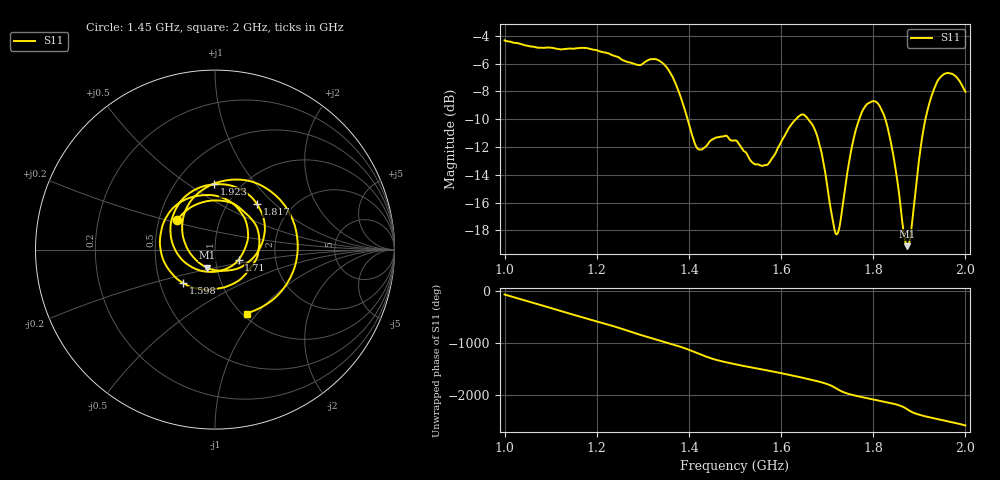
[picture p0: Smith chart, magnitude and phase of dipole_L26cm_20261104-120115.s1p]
! Dipole length 26 cm, measured 20261104-120115
# GHZ S RI R 50.000000000000
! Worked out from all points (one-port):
!   1001 points, 1 GHz to 2 GHz, reference 50 ohm
!   lowest |S11| = -19.1 dB at 1.874 GHz (marker M1), VSWR 1.25, Z = 44.8 - j9.16 ohm
!   |S11| at or under -10 dB: 1.397 GHz to 1.632 GHz (235.4 MHz wide, 15.5 % of centre); 1.659 GHz to 1.77 GHz (110.7 MHz wide, 6.46 % of centre); 1.826 GHz to 1.913 GHz (86.92 MHz wide, 4.65 % of centre)
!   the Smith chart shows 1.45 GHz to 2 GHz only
!   S11 on the Smith chart (normalised r, x): 1.45 GHz: 0.62, +0.22; 1.598 GHz: 0.66, -0.26; 1.71 GHz: 1.30, -0.15; 1.817 GHz: 1.36, +0.78; 1.923 GHz: 0.75, +0.64; 2 GHz: 1.04, -0.88
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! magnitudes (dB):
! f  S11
! 1 GHz  -4.3
! 1.125 GHz  -5.0
! 1.25 GHz  -5.6
! 1.333 GHz  -5.7
! 1.375 GHz  -7.8
! 1.417 GHz  -12.0
! 1.45 GHz  -11.5
! 1.5 GHz  -11.5
! 1.558 GHz  -13.3
! 1.598 GHz  -11.8
! 1.625 GHz  -10.3
! 1.648 GHz  -9.7
! 1.673 GHz  -10.7
! 1.69 GHz  -12.8
! 1.71 GHz  -16.9
! 1.724 GHz  -18.1
! 1.75 GHz  -12.6
! 1.781 GHz  -9.1
! 1.817 GHz  -9.3
! 1.84 GHz  -12.0
! 1.866 GHz  -18.1
! 1.874 GHz  -19.1
! 1.875 GHz  -19.1
! 1.882 GHz  -18.1
! 1.906 GHz  -11.3
! 1.923 GHz  -8.7
! 1.958 GHz  -6.7
! 2 GHz  -8.0
